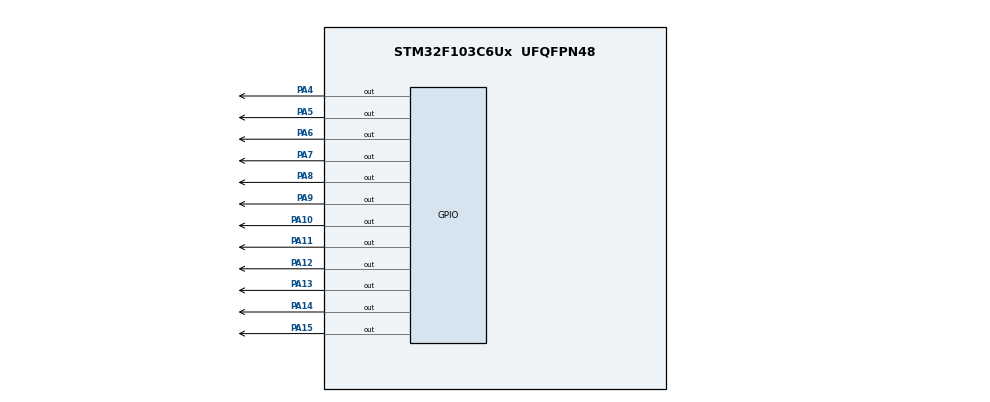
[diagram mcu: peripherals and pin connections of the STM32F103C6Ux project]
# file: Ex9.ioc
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Mcu.Family=STM32F1
Mcu.Name=STM32F103C6Ux
Mcu.Package=UFQFPN48
NVIC.PriorityGroup=NVIC_PRIORITYGROUP_4
PA10.Signal=GPIO_Output
PA11.Signal=GPIO_Output
PA12.Signal=GPIO_Output
PA13.Signal=GPIO_Output
PA14.Signal=GPIO_Output
PA15.Signal=GPIO_Output
PA4.Signal=GPIO_Output
PA5.Signal=GPIO_Output
PA6.Signal=GPIO_Output
PA7.Signal=GPIO_Output
PA8.Signal=GPIO_Output
PA9.Signal=GPIO_Output
ProjectManager.HeapSize=0x200
ProjectManager.StackSize=0x400
ProjectManager.TargetToolchain=STM32CubeIDE
RCC.APB1Freq_Value=8000000
RCC.APB2Freq_Value=8000000
VP_SYS_VS_ND.Mode=No_Debug
board=custom

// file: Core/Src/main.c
/* USER CODE BEGIN Header */
/**
  ******************************************************************************
  * @file           : main.c
  * @brief          : Main program body
  ******************************************************************************
  * @attention
  *
  * <h2><center>&copy; Copyright (c) 2025 STMicroelectronics.
  * All rights reserved.</center></h2>
  *
  * This software component is licensed by ST under BSD 3-Clause license,
  * the "License"; You may not use this file except in compliance with the
  * License. You may obtain a copy of the License at:
  *                        opensource.org/licenses/BSD-3-Clause
  *
  ******************************************************************************
  */
/* USER CODE END Header */
#include "main.h"

/* USER CODE BEGIN PV */
  uint16_t led[12] = {GPIO_PIN_4, GPIO_PIN_5, GPIO_PIN_6, GPIO_PIN_7, GPIO_PIN_8, GPIO_PIN_9, GPIO_PIN_10,
  		  GPIO_PIN_11, GPIO_PIN_12, GPIO_PIN_13, GPIO_PIN_14, GPIO_PIN_15};
/* USER CODE END PV */

void SystemClock_Config(void);
static void MX_GPIO_Init(void);
/* USER CODE BEGIN PFP */
void test(int i);
void clearAllClock();
void setNumberOnClock(int num);
void clearNumberOnClock(int num);
/* USER CODE END PFP */

int main(void)
{

  /* MCU Configuration--------------------------------------------------------*/

  /* Reset of all peripherals, Initializes the Flash interface and the Systick. */
  HAL_Init();

  /* Configure the system clock */
  SystemClock_Config();

  /* Initialize all configured peripherals */
  MX_GPIO_Init();
  /* USER CODE BEGIN 2 */
  int i = 0;
  /* USER CODE END 2 */

  /* Infinite loop */
  /* USER CODE BEGIN WHILE */
  while (1)
  {
	  if (i >= 12) i = 0;
	  test(i);
	  i++;
	  HAL_Delay(1000);
    /* USER CODE END WHILE */

  }
}

void SystemClock_Config(void)
{
  RCC_OscInitTypeDef RCC_OscInitStruct = {0};
  RCC_ClkInitTypeDef RCC_ClkInitStruct = {0};

  /** Initializes the RCC Oscillators according to the specified parameters
  * in the RCC_OscInitTypeDef structure.
  */
  RCC_OscInitStruct.OscillatorType = RCC_OSCILLATORTYPE_HSI;
  RCC_OscInitStruct.HSIState = RCC_HSI_ON;
  RCC_OscInitStruct.HSICalibrationValue = RCC_HSICALIBRATION_DEFAULT;
  RCC_OscInitStruct.PLL.PLLState = RCC_PLL_NONE;
  if (HAL_RCC_OscConfig(&RCC_OscInitStruct) != HAL_OK)
  {
    Error_Handler();
  }
  /** Initializes the CPU, AHB and APB buses clocks
  */
  RCC_ClkInitStruct.ClockType = RCC_CLOCKTYPE_HCLK|RCC_CLOCKTYPE_SYSCLK
                              |RCC_CLOCKTYPE_PCLK1|RCC_CLOCKTYPE_PCLK2;
  RCC_ClkInitStruct.SYSCLKSource = RCC_SYSCLKSOURCE_HSI;
  RCC_ClkInitStruct.AHBCLKDivider = RCC_SYSCLK_DIV1;
  RCC_ClkInitStruct.APB1CLKDivider = RCC_HCLK_DIV1;
  RCC_ClkInitStruct.APB2CLKDivider = RCC_HCLK_DIV1;

  if (HAL_RCC_ClockConfig(&RCC_ClkInitStruct, FLASH_LATENCY_0) != HAL_OK)
  {
    Error_Handler();
  }
}

static void MX_GPIO_Init(void)
{
  GPIO_InitTypeDef GPIO_InitStruct = {0};

  /* GPIO Ports Clock Enable */
  __HAL_RCC_GPIOA_CLK_ENABLE();

  /*Configure GPIO pin Output Level */
  HAL_GPIO_WritePin(GPIOA, GPIO_PIN_4|GPIO_PIN_5|GPIO_PIN_6|GPIO_PIN_7
                          |GPIO_PIN_8|GPIO_PIN_9|GPIO_PIN_10|GPIO_PIN_11
                          |GPIO_PIN_12|GPIO_PIN_13|GPIO_PIN_14|GPIO_PIN_15, GPIO_PIN_RESET);

  /*Configure GPIO pins : PA4 PA5 PA6 PA7
                           PA8 PA9 PA10 PA11
                           PA12 PA13 PA14 PA15 */
  GPIO_InitStruct.Pin = GPIO_PIN_4|GPIO_PIN_5|GPIO_PIN_6|GPIO_PIN_7
                          |GPIO_PIN_8|GPIO_PIN_9|GPIO_PIN_10|GPIO_PIN_11
                          |GPIO_PIN_12|GPIO_PIN_13|GPIO_PIN_14|GPIO_PIN_15;
  GPIO_InitStruct.Mode = GPIO_MODE_OUTPUT_PP;
  GPIO_InitStruct.Pull = GPIO_NOPULL;
  GPIO_InitStruct.Speed = GPIO_SPEED_FREQ_LOW;
  HAL_GPIO_Init(GPIOA, &GPIO_InitStruct);

}

/* USER CODE BEGIN 4 */
void test(int i) {
	  // TURN OFF ALL LED, THEN TURN ON EVERY LED AND ANOTHER LED THAT IS 2 POSITIONS AWAY ON PINS 4-15
	  clearAllClock();
	  setNumberOnClock(i);
	  setNumberOnClock((i + 2) % 12);
}
void clearAllClock() {
	  HAL_GPIO_WritePin(GPIOA, GPIO_PIN_4 | GPIO_PIN_5 | GPIO_PIN_6 | GPIO_PIN_7 |
			  GPIO_PIN_8 | GPIO_PIN_9 | GPIO_PIN_10 | GPIO_PIN_11 |
			  GPIO_PIN_12 | GPIO_PIN_13 | GPIO_PIN_14 | GPIO_PIN_15, SET);
}
void setNumberOnClock(int num) {
	  HAL_GPIO_WritePin(GPIOA, led[num], RESET);
}
void clearNumberOnClock(int num) {
	  HAL_GPIO_WritePin(GPIOA, led[num], SET);
}
/* USER CODE END 4 */

void Error_Handler(void)
{
  __disable_irq();
  while (1)
  {
  }
}

/************************ (C) COPYRIGHT STMicroelectronics *****END OF FILE****/
